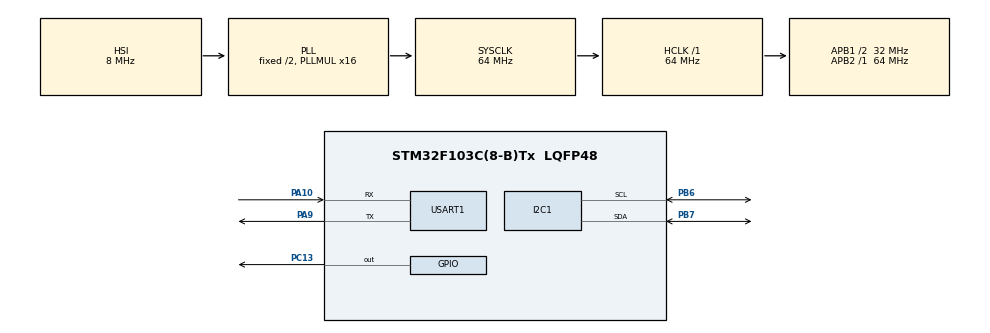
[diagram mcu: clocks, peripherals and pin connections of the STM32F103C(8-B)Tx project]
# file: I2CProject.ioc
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Dma.I2C1_RX.0.Direction=DMA_PERIPH_TO_MEMORY
Dma.I2C1_RX.0.Instance=DMA1_Channel7
Dma.I2C1_RX.0.MemDataAlignment=DMA_MDATAALIGN_BYTE
Dma.I2C1_RX.0.MemInc=DMA_MINC_ENABLE
Dma.I2C1_RX.0.Mode=DMA_NORMAL
Dma.I2C1_RX.0.PeriphDataAlignment=DMA_PDATAALIGN_BYTE
Dma.I2C1_RX.0.PeriphInc=DMA_PINC_DISABLE
Dma.I2C1_RX.0.Priority=DMA_PRIORITY_LOW
Dma.I2C1_TX.1.Direction=DMA_MEMORY_TO_PERIPH
Dma.I2C1_TX.1.Instance=DMA1_Channel6
Dma.I2C1_TX.1.MemDataAlignment=DMA_MDATAALIGN_BYTE
Dma.I2C1_TX.1.MemInc=DMA_MINC_ENABLE
Dma.I2C1_TX.1.Mode=DMA_NORMAL
Dma.I2C1_TX.1.PeriphDataAlignment=DMA_PDATAALIGN_BYTE
Dma.I2C1_TX.1.PeriphInc=DMA_PINC_DISABLE
Dma.I2C1_TX.1.Priority=DMA_PRIORITY_LOW
Dma.Request0=I2C1_RX
Dma.Request1=I2C1_TX
Mcu.Family=STM32F1
Mcu.Name=STM32F103C(8-B)Tx
Mcu.Package=LQFP48
NVIC.DMA1_Channel6_IRQn=true\:0\:0\:false\:false\:true\:false\:true\:true
NVIC.DMA1_Channel7_IRQn=true\:0\:0\:false\:false\:true\:false\:true\:true
NVIC.I2C1_ER_IRQn=true\:0\:0\:false\:false\:true\:true\:true\:true
NVIC.I2C1_EV_IRQn=true\:0\:0\:false\:false\:true\:true\:true\:true
NVIC.PriorityGroup=NVIC_PRIORITYGROUP_4
PA10.Mode=Asynchronous
PA10.Signal=USART1_RX
PA13.Mode=Serial_Wire
PA13.Signal=SYS_JTMS-SWDIO
PA14.Mode=Serial_Wire
PA14.Signal=SYS_JTCK-SWCLK
PA9.Mode=Asynchronous
PA9.Signal=USART1_TX
PB6.Mode=I2C
PB6.Signal=I2C1_SCL
PB7.Mode=I2C
PB7.Signal=I2C1_SDA
PC13-TAMPER-RTC.Signal=GPIO_Output
ProjectManager.HeapSize=0x200
ProjectManager.StackSize=0x400
ProjectManager.TargetToolchain=STM32CubeIDE
RCC.AHBFreq_Value=64000000
RCC.APB1CLKDivider=RCC_HCLK_DIV2
RCC.APB1Freq_Value=32000000
RCC.APB1TimFreq_Value=64000000
RCC.APB2Freq_Value=64000000
RCC.APB2TimFreq_Value=64000000
RCC.HCLKFreq_Value=64000000
RCC.PLLMUL=RCC_PLL_MUL16
RCC.SYSCLKFreq_VALUE=64000000
RCC.SYSCLKSource=RCC_SYSCLKSOURCE_PLLCLK
RCC.USBFreq_Value=64000000
USART1.VirtualMode=VM_ASYNC
board=custom

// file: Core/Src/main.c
/* USER CODE BEGIN Header */
/**
  ******************************************************************************
  * @file           : main.c
  * @brief          : Main program body
  ******************************************************************************
  * @attention
  *
  * Copyright (c) 2026 STMicroelectronics.
  * All rights reserved.
  *
  * This software is licensed under terms that can be found in the LICENSE file
  * in the root directory of this software component.
  * If no LICENSE file comes with this software, it is provided AS-IS.
  *
  ******************************************************************************
  *
  * @project        : I2C Multi-Sensor Project
  * @author         : EmreSoftware
  *
  * @description    : Reads MPU6050 and BMP180 sensors via I2C with DMA,
  *                   displays on 16x2 LCD with PCF8574 backpack.
  *
  * @hardware       : STM32F103C8T6, MPU6050, BMP180, 16x2 LCD
  * @pins           : PB6 (SCL), PB7 (SDA), 4.7kΩ pull-ups
  *
  ******************************************************************************

  */
/* USER CODE END Header */
#include "main.h"
#include <stdio.h>
#include <math.h>

I2C_HandleTypeDef hi2c1;
DMA_HandleTypeDef hdma_i2c1_rx;
DMA_HandleTypeDef hdma_i2c1_tx;

UART_HandleTypeDef huart1;

/* USER CODE BEGIN PV */
volatile uint8_t i2c_rx_done = 0;
volatile int16_t accel_x, accel_y, accel_z;
volatile int16_t gyro_x, gyro_y, gyro_z;
long temperature, pressure;
uint8_t buffer[6];

float ax, ay, az;
float roll = 0, pitch = 0, yaw = 0;

// gyro bias offsets
int16_t gyro_x_bias = 0;
int16_t gyro_y_bias = 0;
int16_t gyro_z_bias = 0;

// Quaternion
float q0 = 1.0f, q1 = 0.0f, q2 = 0.0f, q3 = 0.0f;

// Madgwick filter parameter
#define BETA 0.1f  // Lower = smoother but slower, Higher = faster but noisier aka accel trust rate.

/* USER CODE END PV */

void SystemClock_Config(void);
static void MX_GPIO_Init(void);
static void MX_DMA_Init(void);
static void MX_I2C1_Init(void);
static void MX_USART1_UART_Init(void);

/* USER CODE BEGIN 0 */
#define LCD_ADDR (0x27 << 1)
#define LCD_BL 0x08 // Bit 3. When this bit is 1, backlight turns on.
#define LCD_EN 0x04 // Bit 2. This is read now signal for LCD.
#define LCD_RS 0x01 // Bit 0. When 0 = sending command.
#ifndef M_PI
#define M_PI 3.14159265358979323846f
#endif

void lcd_send_nibble(uint8_t nibble, uint8_t rs) // This sends 4 bits to the LCD.
{
    uint8_t data = (nibble & 0xF0) | LCD_BL | rs;

    data |= LCD_EN; // set enable bit high
    HAL_I2C_Master_Transmit(&hi2c1, LCD_ADDR, &data, 1, 10);

    data &= ~LCD_EN; // set enable bit low
    HAL_I2C_Master_Transmit(&hi2c1, LCD_ADDR, &data, 1, 10);
}

void lcd_send_byte(uint8_t byte, uint8_t rs)
{
    lcd_send_nibble(byte & 0xF0, rs);
    lcd_send_nibble((byte << 4) & 0xF0, rs);
}

void lcd_cmd(uint8_t cmd)
{
    lcd_send_byte(cmd, 0);
    HAL_Delay(2);
}

void lcd_char(char c)
{
    lcd_send_byte(c, LCD_RS); // LCD_RS = char data
}

void lcd_string(char *str)
{
    while (*str) lcd_char(*str++);
}

void lcd_init(void)
{
    HAL_Delay(50);
    lcd_send_nibble(0x30, 0); HAL_Delay(5); // Datasheet says send wake up command three times to reset the LCD
    lcd_send_nibble(0x30, 0); HAL_Delay(1); // and wake it up.
    lcd_send_nibble(0x30, 0); HAL_Delay(1);

    lcd_send_nibble(0x20, 0); HAL_Delay(1); // switch to 4 bit mode

    lcd_cmd(0x28);  // 4-bit, 2 lines, 5x8 font
    lcd_cmd(0x0C);  // display on, cursor off
    lcd_cmd(0x06);  // entry mode: increment
    lcd_cmd(0x01);  // clear display
    HAL_Delay(2);
}

void lcd_set_cursor(uint8_t row, uint8_t col)
{
    uint8_t addr = (row == 0) ? col : (0x40 + col);
    lcd_cmd(0x80 | addr);
}

// BMP180 calibration data
int16_t AC1, AC2, AC3, B1, B2, MB, MC, MD;
uint16_t AC4, AC5, AC6;

void bmp180_read_calibration(void)
{
    uint8_t data[22];
    HAL_I2C_Mem_Read(&hi2c1, 0x77 << 1, 0xAA, 1, data, 22, 100);

    AC1 = (data[0] << 8) | data[1];
    AC2 = (data[2] << 8) | data[3];
    AC3 = (data[4] << 8) | data[5];
    AC4 = (data[6] << 8) | data[7];
    AC5 = (data[8] << 8) | data[9];
    AC6 = (data[10] << 8) | data[11];
    B1 = (data[12] << 8) | data[13];
    B2 = (data[14] << 8) | data[15];
    MB = (data[16] << 8) | data[17];
    MC = (data[18] << 8) | data[19];
    MD = (data[20] << 8) | data[21];
}

long bmp180_read_temp(void)
{
    uint8_t cmd = 0x2E;
    uint8_t data[2];

    HAL_I2C_Mem_Write(&hi2c1, 0x77 << 1, 0xF4, 1, &cmd, 1, 100);
    HAL_Delay(5);
    HAL_I2C_Mem_Read(&hi2c1, 0x77 << 1, 0xF6, 1, data, 2, 100);

    return (data[0] << 8) | data[1];
}

long bmp180_read_pressure(void)
{
    uint8_t cmd = 0x34;
    uint8_t data[3];

    HAL_I2C_Mem_Write(&hi2c1, 0x77 << 1, 0xF4, 1, &cmd, 1, 100);
    HAL_Delay(5);
    HAL_I2C_Mem_Read(&hi2c1, 0x77 << 1, 0xF6, 1, data, 3, 100);

    return ((data[0] << 16) | (data[1] << 8) | data[2]) >> 8;
}

void bmp180_get_temp_pressure(long *temp, long *pressure)
{
    long UT = bmp180_read_temp();
    long UP = bmp180_read_pressure();

    // Temperature calculation
    long X1 = ((UT - AC6) * AC5) >> 15;
    long X2 = (MC << 11) / (X1 + MD);
    long B5 = X1 + X2;
    *temp = (B5 + 8) >> 4;  // temperature in 0.1°C

    // Pressure calculation
    long B6 = B5 - 4000;
    X1 = (B2 * ((B6 * B6) >> 12)) >> 11;
    X2 = (AC2 * B6) >> 11;
    long X3 = X1 + X2;
    long B3 = (((AC1 * 4 + X3)) + 2) >> 2;
    X1 = (AC3 * B6) >> 13;
    X2 = (B1 * ((B6 * B6) >> 12)) >> 16;
    X3 = ((X1 + X2) + 2) >> 2;
    unsigned long B4 = (AC4 * (unsigned long)(X3 + 32768)) >> 15;
    unsigned long B7 = ((unsigned long)UP - B3) * 50000;

    if (B7 < 0x80000000)
        *pressure = (B7 * 2) / B4;
    else
        *pressure = (B7 / B4) * 2;

    X1 = (*pressure >> 8) * (*pressure >> 8);
    X1 = (X1 * 3038) >> 16;
    X2 = (-7357 * *pressure) >> 16;
    *pressure = *pressure + ((X1 + X2 + 3791) >> 4);  // pressure in Pa
}

void calibrate_gyro(void)
{
    int32_t gx_sum = 0, gy_sum = 0, gz_sum = 0;

    lcd_set_cursor(0, 0);
    lcd_string("Calibrating...");
    lcd_set_cursor(1, 0);
    lcd_string("Keep still!");

    for (int i = 0; i < 100; i++)
    {
        HAL_I2C_Mem_Read(&hi2c1, 0x68 << 1, 0x43, 1, buffer, 6, 100);
        gx_sum += (int16_t)((buffer[0] << 8) | buffer[1]);
        gy_sum += (int16_t)((buffer[2] << 8) | buffer[3]);
        gz_sum += (int16_t)((buffer[4] << 8) | buffer[5]);
        HAL_Delay(10);
    }

    gyro_x_bias = gx_sum / 100;
    gyro_y_bias = gy_sum / 100;
    gyro_z_bias = gz_sum / 100;

    lcd_cmd(0x01);
    HAL_Delay(5);
}

void HAL_I2C_MemRxCpltCallback(I2C_HandleTypeDef *hi2c)
  {
      i2c_rx_done = 1;
  }

void madgwick_update(float gx, float gy, float gz, float ax, float ay, float az, float dt)
{
    float recipNorm;
    float s0, s1, s2, s3;
    float qDot1, qDot2, qDot3, qDot4;
    float _2q0, _2q1, _2q2, _2q3, _4q0, _4q1, _4q2, _8q1, _8q2, q0q0, q1q1, q2q2, q3q3;

    // Convert gyro from degrees/sec to radians/sec
    gx *= 0.0174533f;
    gy *= 0.0174533f;
    gz *= 0.0174533f;

    // Rate of change of quaternion from gyroscope
    qDot1 = 0.5f * (-q1 * gx - q2 * gy - q3 * gz);
    qDot2 = 0.5f * (q0 * gx + q2 * gz - q3 * gy);
    qDot3 = 0.5f * (q0 * gy - q1 * gz + q3 * gx);
    qDot4 = 0.5f * (q0 * gz + q1 * gy - q2 * gx);

    // Compute feedback only if accelerometer measurement valid
    if (!((ax == 0.0f) && (ay == 0.0f) && (az == 0.0f)))
    {
        // Normalise accelerometer measurement
        recipNorm = 1.0f / sqrtf(ax * ax + ay * ay + az * az);
        ax *= recipNorm;
        ay *= recipNorm;
        az *= recipNorm;

        // Auxiliary variables to avoid repeated arithmetic
        _2q0 = 2.0f * q0;
        _2q1 = 2.0f * q1;
        _2q2 = 2.0f * q2;
        _2q3 = 2.0f * q3;
        _4q0 = 4.0f * q0;
        _4q1 = 4.0f * q1;
        _4q2 = 4.0f * q2;
        _8q1 = 8.0f * q1;
        _8q2 = 8.0f * q2;
        q0q0 = q0 * q0;
        q1q1 = q1 * q1;
        q2q2 = q2 * q2;
        q3q3 = q3 * q3;

        // Gradient descent algorithm corrective step
        s0 = _4q0 * q2q2 + _2q2 * ax + _4q0 * q1q1 - _2q1 * ay;
        s1 = _4q1 * q3q3 - _2q3 * ax + 4.0f * q0q0 * q1 - _2q0 * ay - _4q1 + _8q1 * q1q1 + _8q1 * q2q2 + _4q1 * az;
        s2 = 4.0f * q0q0 * q2 + _2q0 * ax + _4q2 * q3q3 - _2q3 * ay - _4q2 + _8q2 * q1q1 + _8q2 * q2q2 + _4q2 * az;
        s3 = 4.0f * q1q1 * q3 - _2q1 * ax + 4.0f * q2q2 * q3 - _2q2 * ay;

        // Normalise step magnitude
        recipNorm = 1.0f / sqrtf(s0 * s0 + s1 * s1 + s2 * s2 + s3 * s3);
        s0 *= recipNorm;
        s1 *= recipNorm;
        s2 *= recipNorm;
        s3 *= recipNorm;

        // Apply feedback step
        qDot1 -= BETA * s0;
        qDot2 -= BETA * s1;
        qDot3 -= BETA * s2;
        qDot4 -= BETA * s3;
    }

    // Integrate rate of change of quaternion to yield quaternion
    q0 += qDot1 * dt;
    q1 += qDot2 * dt;
    q2 += qDot3 * dt;
    q3 += qDot4 * dt;

    // Normalise quaternion
    recipNorm = 1.0f / sqrtf(q0 * q0 + q1 * q1 + q2 * q2 + q3 * q3);
    q0 *= recipNorm;
    q1 *= recipNorm;
    q2 *= recipNorm;
    q3 *= recipNorm;
}

void get_euler_angles(float *roll, float *pitch, float *yaw)
{
    *roll  = atan2f(2.0f * (q0 * q1 + q2 * q3), 1.0f - 2.0f * (q1 * q1 + q2 * q2)) * 180.0f / M_PI;
    *pitch = asinf(2.0f * (q0 * q2 - q3 * q1)) * 180.0f / M_PI;
    *yaw   = atan2f(2.0f * (q0 * q3 + q1 * q2), 1.0f - 2.0f * (q2 * q2 + q3 * q3)) * 180.0f / M_PI;
}

/* USER CODE END 0 */

int main(void)
{

  /* MCU Configuration--------------------------------------------------------*/

  /* Reset of all peripherals, Initializes the Flash interface and the Systick. */
  HAL_Init();

  /* Configure the system clock */
  SystemClock_Config();

  /* Initialize all configured peripherals */
  MX_GPIO_Init();
  MX_DMA_Init();
  MX_I2C1_Init();
  MX_USART1_UART_Init();
  /* USER CODE BEGIN 2 */
  // Wake up MPU6050
  uint8_t data = 0x00;
  HAL_I2C_Mem_Write(&hi2c1, 0x68 << 1, 0x6B, 1, &data, 1, 100);
  HAL_Delay(100);

  // Init LCD
  lcd_init();

  // Intro animation
  lcd_set_cursor(0, 0);
  lcd_string("  I2C Scanner  ");
  HAL_Delay(1000);

  lcd_cmd(0x01);  // clear
  HAL_Delay(5);

  // Check MPU6050
  lcd_set_cursor(0, 0);
  lcd_string("MPU6050...");
  HAL_Delay(300);
  if (HAL_I2C_IsDeviceReady(&hi2c1, 0x68 << 1, 1, 100) == HAL_OK)
  {
      lcd_string(" OK!");
  }
  else
  {
      lcd_string(" FAIL");
  }
  HAL_Delay(500);

  // Check LCD (always OK if you see this)
  lcd_set_cursor(1, 0);
  lcd_string("LCD.......");
  HAL_Delay(300);
  lcd_string(" OK!");
  HAL_Delay(500);

  lcd_cmd(0x01);
  HAL_Delay(5);

  // Check BMP180
  lcd_set_cursor(0, 0);
  lcd_string("BMP180....");
  HAL_Delay(300);
  if (HAL_I2C_IsDeviceReady(&hi2c1, 0x77 << 1, 1, 100) == HAL_OK)
  {
      lcd_string(" OK!");
  }
  else
  {
      lcd_string(" FAIL");
  }
  HAL_Delay(500);

  lcd_set_cursor(1, 0);
  lcd_string("All systems GO!");
  HAL_Delay(1500);

  lcd_cmd(0x01);
  HAL_Delay(5);

  // Wake up MPU6050
  HAL_I2C_Mem_Write(&hi2c1, 0x68 << 1, 0x6B, 1, &data, 1, 100);
  HAL_Delay(100);

  calibrate_gyro();

  // Read BMP180 calibration
  bmp180_read_calibration();

  /* USER CODE END 2 */

  /* Infinite loop */
  /* USER CODE BEGIN WHILE */
  while (1)
  {
	    i2c_rx_done = 0;
	    HAL_I2C_Mem_Read_DMA(&hi2c1, 0x68 << 1, 0x3B, 1, buffer, 6);
	    while (!i2c_rx_done);

	    accel_x = (buffer[0] << 8) | buffer[1];
	    accel_y = (buffer[2] << 8) | buffer[3];
	    accel_z = (buffer[4] << 8) | buffer[5];

	    if (accel_x == 0 && accel_y == 0 && accel_z == 0)
	    {
	        uint8_t wake = 0x00;
	        HAL_I2C_Mem_Write(&hi2c1, 0x68 << 1, 0x6B, 1, &wake, 1, 100);
	        HAL_Delay(50);
	    }

	    i2c_rx_done = 0;
	    HAL_I2C_Mem_Read_DMA(&hi2c1, 0x68 << 1, 0x43, 1, buffer, 6);
	    while (!i2c_rx_done);

	    gyro_x = ((buffer[0] << 8) | buffer[1]) - gyro_x_bias;
	    gyro_y = ((buffer[2] << 8) | buffer[3]) - gyro_y_bias;
	    gyro_z = ((buffer[4] << 8) | buffer[5]) - gyro_z_bias;

	    // Convert to physical units
	    float ax = accel_x / 16384.0f;  // g
	    float ay = accel_y / 16384.0f;
	    float az = accel_z / 16384.0f;
	    float gx = gyro_x / 131.0f;     // deg/s
	    float gy = gyro_y / 131.0f;
	    float gz = gyro_z / 131.0f;

	    // Update Madgwick filter (dt = 0.01 for 100Hz, adjust if needed)
	    madgwick_update(gx, gy, gz, ax, ay, az, 0.01f);

	    // Get angles
	    get_euler_angles(&roll, &pitch, &yaw);

	    bmp180_get_temp_pressure(&temperature, &pressure);

	    char line[17];

	    lcd_set_cursor(0, 0);
	    sprintf(line, "R:%+5.0f P:%+5.0f", roll, pitch);
	    lcd_string(line);

	    lcd_set_cursor(1, 0);
	    sprintf(line, "Y:%+5.0f T:%ld.%ld", yaw, temperature/10, temperature%10);
	    lcd_string(line);

	    HAL_Delay(10);  // ~100Hz update rate

    /* USER CODE END WHILE */

  }
}

void SystemClock_Config(void)
{
  RCC_OscInitTypeDef RCC_OscInitStruct = {0};
  RCC_ClkInitTypeDef RCC_ClkInitStruct = {0};

  /** Initializes the RCC Oscillators according to the specified parameters
  * in the RCC_OscInitTypeDef structure.
  */
  RCC_OscInitStruct.OscillatorType = RCC_OSCILLATORTYPE_HSI;
  RCC_OscInitStruct.HSIState = RCC_HSI_ON;
  RCC_OscInitStruct.HSICalibrationValue = RCC_HSICALIBRATION_DEFAULT;
  RCC_OscInitStruct.PLL.PLLState = RCC_PLL_ON;
  RCC_OscInitStruct.PLL.PLLSource = RCC_PLLSOURCE_HSI_DIV2;
  RCC_OscInitStruct.PLL.PLLMUL = RCC_PLL_MUL16;
  if (HAL_RCC_OscConfig(&RCC_OscInitStruct) != HAL_OK)
  {
    Error_Handler();
  }

  /** Initializes the CPU, AHB and APB buses clocks
  */
  RCC_ClkInitStruct.ClockType = RCC_CLOCKTYPE_HCLK|RCC_CLOCKTYPE_SYSCLK
                              |RCC_CLOCKTYPE_PCLK1|RCC_CLOCKTYPE_PCLK2;
  RCC_ClkInitStruct.SYSCLKSource = RCC_SYSCLKSOURCE_PLLCLK;
  RCC_ClkInitStruct.AHBCLKDivider = RCC_SYSCLK_DIV1;
  RCC_ClkInitStruct.APB1CLKDivider = RCC_HCLK_DIV2;
  RCC_ClkInitStruct.APB2CLKDivider = RCC_HCLK_DIV1;

  if (HAL_RCC_ClockConfig(&RCC_ClkInitStruct, FLASH_LATENCY_2) != HAL_OK)
  {
    Error_Handler();
  }
}

static void MX_I2C1_Init(void)
{

  hi2c1.Instance = I2C1;
  hi2c1.Init.ClockSpeed = 100000;
  hi2c1.Init.DutyCycle = I2C_DUTYCYCLE_2;
  hi2c1.Init.OwnAddress1 = 0;
  hi2c1.Init.AddressingMode = I2C_ADDRESSINGMODE_7BIT;
  hi2c1.Init.DualAddressMode = I2C_DUALADDRESS_DISABLE;
  hi2c1.Init.OwnAddress2 = 0;
  hi2c1.Init.GeneralCallMode = I2C_GENERALCALL_DISABLE;
  hi2c1.Init.NoStretchMode = I2C_NOSTRETCH_DISABLE;
  if (HAL_I2C_Init(&hi2c1) != HAL_OK)
  {
    Error_Handler();
  }

}

static void MX_USART1_UART_Init(void)
{

  huart1.Instance = USART1;
  huart1.Init.BaudRate = 115200;
  huart1.Init.WordLength = UART_WORDLENGTH_8B;
  huart1.Init.StopBits = UART_STOPBITS_1;
  huart1.Init.Parity = UART_PARITY_NONE;
  huart1.Init.Mode = UART_MODE_TX_RX;
  huart1.Init.HwFlowCtl = UART_HWCONTROL_NONE;
  huart1.Init.OverSampling = UART_OVERSAMPLING_16;
  if (HAL_UART_Init(&huart1) != HAL_OK)
  {
    Error_Handler();
  }

}

static void MX_DMA_Init(void)
{

  /* DMA controller clock enable */
  __HAL_RCC_DMA1_CLK_ENABLE();

  /* DMA interrupt init */
  /* DMA1_Channel6_IRQn interrupt configuration */
  HAL_NVIC_SetPriority(DMA1_Channel6_IRQn, 0, 0);
  HAL_NVIC_EnableIRQ(DMA1_Channel6_IRQn);
  /* DMA1_Channel7_IRQn interrupt configuration */
  HAL_NVIC_SetPriority(DMA1_Channel7_IRQn, 0, 0);
  HAL_NVIC_EnableIRQ(DMA1_Channel7_IRQn);

}

static void MX_GPIO_Init(void)
{
  GPIO_InitTypeDef GPIO_InitStruct = {0};

  /* GPIO Ports Clock Enable */
  __HAL_RCC_GPIOC_CLK_ENABLE();
  __HAL_RCC_GPIOA_CLK_ENABLE();
  __HAL_RCC_GPIOB_CLK_ENABLE();

  /*Configure GPIO pin Output Level */
  HAL_GPIO_WritePin(GPIOC, GPIO_PIN_13, GPIO_PIN_RESET);

  /*Configure GPIO pin : PC13 */
  GPIO_InitStruct.Pin = GPIO_PIN_13;
  GPIO_InitStruct.Mode = GPIO_MODE_OUTPUT_PP;
  GPIO_InitStruct.Pull = GPIO_NOPULL;
  GPIO_InitStruct.Speed = GPIO_SPEED_FREQ_LOW;
  HAL_GPIO_Init(GPIOC, &GPIO_InitStruct);

}

void Error_Handler(void)
{
  __disable_irq();
  while (1)
  {
  }
}
